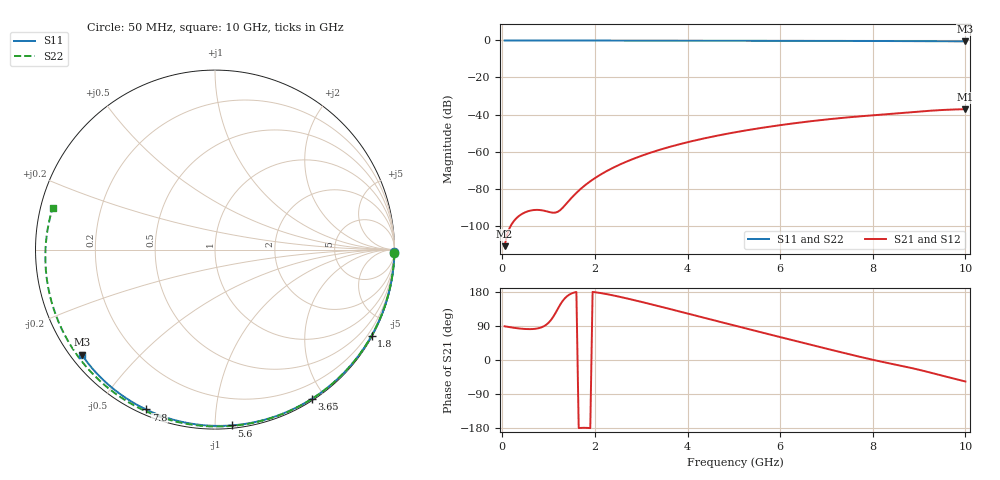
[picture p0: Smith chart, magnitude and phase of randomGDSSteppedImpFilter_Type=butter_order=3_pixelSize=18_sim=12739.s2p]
! freq	dB(S11)	phase(S11)	dB(S12)	phase(S12)
!  dB(S21)	phase(S21)	dB(S22)	phase(S22)
!S-par simulation data
#  GHz  S  DB  R 50
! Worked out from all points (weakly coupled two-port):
!   200 points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, 50 MHz to 10 GHz, reference 50 ohm
!   highest |S21| = -37.11 dB at 10 GHz (marker M1); lowest = -111.1 dB at 50 MHz (marker M2)
!   lowest |S11| = -0.5 dB at 10 GHz (marker M3), VSWR 34.97, Z = 1.6 - j17.4 ohm
!   |S11| at or under -10 dB: nowhere
!   |S22| runs from -0.6 to 0.0 dB; largest |S21 - S12| = 0
!   S11 on the Smith chart (normalised r, x): 50 MHz: open; 1.8 GHz: 0.03, -3.89; 3.65 GHz: 0.02, -1.84; 5.6 GHz: 0.02, -1.10; 7.8 GHz: 0.02, -0.66; 10 GHz: 0.03, -0.35
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0.05  -0.00 -0.8  -111.11 88.9  -111.11 88.9  -0.00 -1.1
0.45  -0.01 -7.3  -93.35 82.2  -93.35 82.2  -0.01 -10.3
0.85  -0.02 -13.7  -91.71 86.4  -91.71 86.4  -0.02 -19.5
1.25  -0.03 -20.1  -91.66 146.1  -91.66 146.1  -0.04 -28.5
1.7  -0.03 -27.3  -80.01 -179.1  -80.01 -179.1  -0.05 -38.5
1.75  -0.04 -28.1  -78.96 -178.9  -78.96 -178.9  -0.05 -39.6
1.8  -0.04 -28.8  -77.95 -178.9  -77.95 -178.9  -0.05 -40.7
2.1  -0.04 -33.5  -72.77 177.2  -72.77 177.2  -0.06 -47.2
2.45  -0.05 -38.9  -68.05 169.0  -68.05 169.0  -0.07 -54.7
2.9  -0.06 -45.8  -63.27 156.5  -63.27 156.5  -0.08 -64.2
3.4  -0.07 -53.3  -59.04 141.4  -59.04 141.4  -0.10 -74.4
3.65  -0.08 -57.0  -57.23 133.6  -57.23 133.6  -0.11 -79.4
4.35  -0.10 -67.2  -52.94 111.7  -52.94 111.7  -0.13 -93.0
5.05  -0.12 -77.1  -49.50 89.8  -49.50 89.8  -0.16 -106.2
5.6  -0.14 -84.6  -47.22 72.7  -47.22 72.7  -0.19 -116.2
6.15  -0.16 -92.0  -45.24 55.8  -45.24 55.8  -0.22 -126.0
6.7  -0.19 -99.2  -43.52 39.0  -43.52 39.0  -0.26 -135.6
7.25  -0.23 -106.3  -42.04 22.4  -42.04 22.4  -0.30 -145.2
7.8  -0.26 -113.3  -40.83 6.2  -40.83 6.2  -0.35 -154.8
8.35  -0.31 -120.2  -39.82 -8.7  -39.82 -8.7  -0.40 -164.4
9.2  -0.39 -130.9  -38.03 -31.9  -38.03 -31.9  -0.49 -179.6
10  -0.50 -141.7  -37.11 -56.7  -37.11 -56.7  -0.59 165.5
